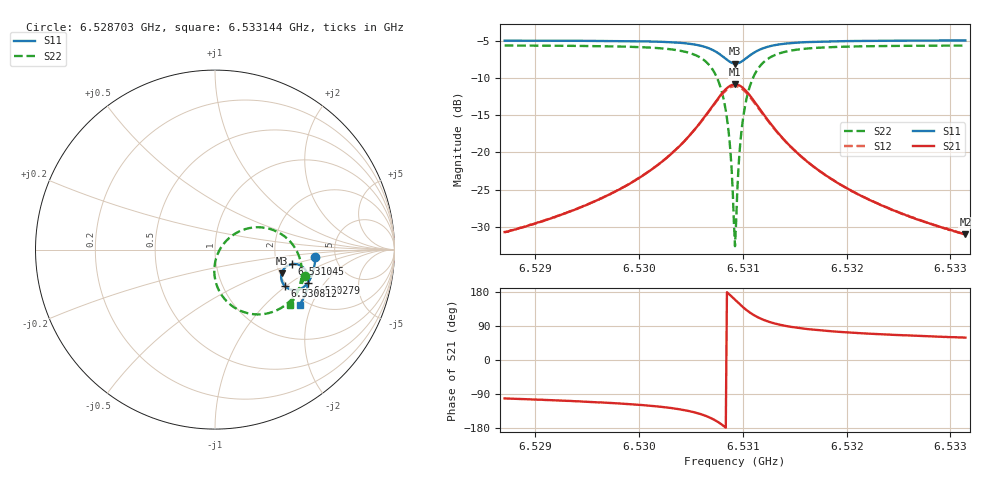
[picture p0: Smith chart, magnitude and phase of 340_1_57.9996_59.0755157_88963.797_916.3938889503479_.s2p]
#  HZ  S  RI  R  50.00
! Rohde & Schwarz Vector Network Analyzer
! Rohde-Schwarz,ZNB20-2Port,1311601062101988,3.16
! Created: UTC 3/21/2024, 1:05:28 AM
! freq[Hz]  re:S11  im:S11  re:S21  im:S21  re:S12  im:S12  re:S22  im:S22
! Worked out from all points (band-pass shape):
!   401 points, 6.528703 GHz to 6.533144 GHz, reference 50 ohm
!   highest |S21| = -10.86 dB at 6.530923 GHz (marker M1); lowest = -31.0 dB at 6.533144 GHz (marker M2)
!   |S21| within 3 dB of the highest: 6.530702 GHz to 6.531145 GHz (443.8 kHz wide, 0.0068 % of centre)
!   lowest |S11| = -8.1 dB at 6.530923 GHz (marker M3), VSWR 2.30, Z = 102 - j32 ohm
!   |S11| at or under -10 dB: nowhere
!   |S22| runs from -32.6 to -5.7 dB; largest |S21 - S12| = 0.011
!   S11 on the Smith chart (normalised r, x): 6.528703 GHz: 3.51, -0.42; 6.530279 GHz: 2.62, -1.38; 6.530812 GHz: 1.95, -0.97; 6.531045 GHz: 2.43, -0.49; 6.533144 GHz: 1.82, -1.65
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6.5287028e9  0.5599 -0.0411  -0.00579 -0.0287  -0.00641 -0.0285  0.5005 -0.1453
6.5294466e9  0.5511 -0.1021  -0.0143 -0.0407  -0.0153 -0.0405  0.4723 -0.2127
6.5301904e9  0.5248 -0.1736  -0.0455 -0.0701  -0.0475 -0.069  0.3961 -0.3058
6.5302792e9  0.518 -0.184  -0.055 -0.0762  -0.057 -0.0747  0.3762 -0.3204
6.5304791e9  0.4941 -0.2084  -0.0904 -0.0914  -0.0931 -0.0884  0.3051 -0.3523
6.5306456e9  0.4546 -0.2249  -0.1516 -0.0951  -0.154 -0.089  0.1914 -0.3565
6.5307455e9  0.4159 -0.2206  -0.2117 -0.0719  -0.2114 -0.0633  0.0889 -0.3092
6.5308121e9  0.3873 -0.2009  -0.2544 -0.0279  -0.2505 -0.0187  0.0224 -0.2284
6.5308676e9  0.3708 -0.1702  -0.2757 0.0318  -0.2682 0.0394  -0.00389 -0.1256
6.530901e9  0.3686 -0.1472  -0.2749 0.0742  -0.2657 0.0795  0.00414 -0.0557
6.5309121e9  0.3696 -0.1396  -0.2718 0.0885  -0.2624 0.0929  0.0116 -0.0327
6.5309232e9  0.3713 -0.1319  -0.2674 0.1023  -0.2577 0.1061  0.021 -0.0106
6.5309343e9  0.3741 -0.1244  -0.2615 0.1157  -0.2518 0.1184  0.0329 0.0105
6.5309454e9  0.3774 -0.1173  -0.2544 0.1285  -0.2447 0.1304  0.0466 0.0302
6.5309676e9  0.3864 -0.1047  -0.2367 0.1511  -0.2277 0.1514  0.079 0.0646
6.5309898e9  0.3974 -0.0944  -0.2161 0.1693  -0.2078 0.1682  0.1161 0.0913
6.5310453e9  0.4286 -0.0809  -0.1594 0.1942  -0.1538 0.1915  0.2139 0.1233
6.531123e9  0.4667 -0.0843  -0.0922 0.1923  -0.0893 0.1898  0.327 0.108
6.531234e9  0.499 -0.1068  -0.0354 0.163  -0.0341 0.1614  0.4193 0.0445
6.531667e9  0.5203 -0.1823  0.0139 0.0806  0.0148 0.0803  0.4831 -0.1313
6.5324108e9  0.5 -0.2551  0.0164 0.0387  0.017 0.0384  0.4555 -0.2462
6.5331436e9  0.4717 -0.3086  0.0145 0.0243  0.015 0.0241  0.4198 -0.3084
